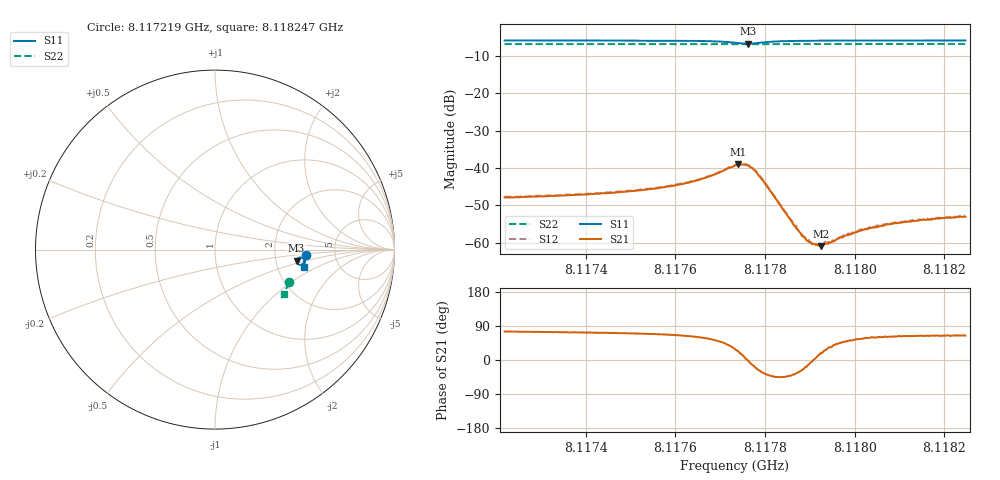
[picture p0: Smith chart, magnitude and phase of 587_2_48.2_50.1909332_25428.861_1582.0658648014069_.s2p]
#  HZ  S  RI  R  50.00
! Rohde & Schwarz Vector Network Analyzer
! Rohde-Schwarz,ZNB20-2Port,1311601062101988,3.16
! Created: UTC 3/20/2024, 12:02:20 PM
! freq[Hz]  re:S11  im:S11  re:S21  im:S21  re:S12  im:S12  re:S22  im:S22
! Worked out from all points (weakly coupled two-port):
!   401 points, 8.117219 GHz to 8.118247 GHz, reference 50 ohm
!   highest |S21| = -38.99 dB at 8.117741 GHz (marker M1); lowest = -60.9 dB at 8.117926 GHz (marker M2)
!   lowest |S11| = -6.8 dB at 8.117761 GHz (marker M3), VSWR 2.69, Z = 131 - j20.2 ohm
!   |S11| at or under -10 dB: nowhere
!   |S22| runs from -6.9 to -6.8 dB; largest |S21 - S12| = 0.00044
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8.1172195e9  0.5055 -0.0324  0.00103 0.00392  0.00111 0.00398  0.4135 -0.1831
8.1173916e9  0.5037 -0.047  0.0013 0.00422  0.00134 0.00428  0.4088 -0.1942
8.1174994e9  0.5019 -0.057  0.00166 0.00459  0.00171 0.0047  0.4058 -0.201
8.1175637e9  0.5 -0.064  0.00205 0.00503  0.00212 0.00512  0.4038 -0.2054
8.1176484e9  0.4942 -0.0755  0.00334 0.00595  0.0034 0.006  0.401 -0.2108
8.1176895e9  0.4861 -0.0824  0.00513 0.00653  0.00525 0.00663  0.3994 -0.2135
8.1177332e9  0.4651 -0.0825  0.00947 0.00523  0.00966 0.00534  0.3973 -0.2158
8.1177409e9  0.4603 -0.0787  0.0104 0.00425  0.0106 0.00423  0.3967 -0.2161
8.1177614e9  0.4545 -0.0609  0.0108 -0.000154  0.0111 -0.000148  0.396 -0.2164
8.1177743e9  0.4599 -0.0498  0.0093 -0.00248  0.00943 -0.00255  0.396 -0.2168
8.1177948e9  0.4748 -0.0432  0.00579 -0.00378  0.00588 -0.00382  0.3961 -0.2178
8.1178796e9  0.4974 -0.0604  0.00117 -0.000646  0.00119 -0.000674  0.3945 -0.2239
8.117895e9  0.4982 -0.0632  0.00103 -0.000263  0.00105 -0.000258  0.394 -0.2251
8.1179053e9  0.4984 -0.0649  0.000955 -6.65e-05  0.000973 -7.79e-05  0.3935 -0.2258
8.1179104e9  0.4986 -0.0655  0.000969 3.85e-05  0.000948 5.35e-05  0.3937 -0.226
8.1179258e9  0.4989 -0.0679  0.000862 0.000272  0.000904 0.000332  0.393 -0.227
8.1179592e9  0.4991 -0.0723  0.000807 0.000745  0.000842 0.000733  0.3919 -0.2292
8.1179721e9  0.4991 -0.0738  0.000808 0.000856  0.000851 0.000881  0.3915 -0.2301
8.1180106e9  0.4989 -0.0781  0.000828 0.00117  0.000843 0.00122  0.3901 -0.2324
8.1180774e9  0.4982 -0.0849  0.000844 0.00157  0.000827 0.00161  0.388 -0.2367
8.1181442e9  0.4974 -0.0908  0.000876 0.00179  0.000918 0.00185  0.3856 -0.2407
8.1182469e9  0.4959 -0.0994  0.000954 0.00201  0.000969 0.00208  0.3819 -0.2469
